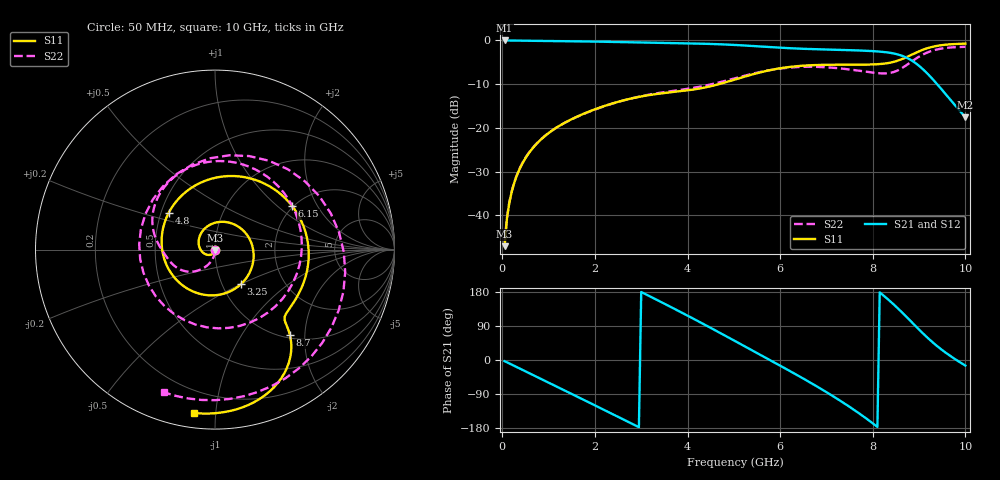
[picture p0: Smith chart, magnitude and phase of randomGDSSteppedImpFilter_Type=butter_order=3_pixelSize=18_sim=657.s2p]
! freq	dB(S11)	phase(S11)	dB(S12)	phase(S12)
!  dB(S21)	phase(S21)	dB(S22)	phase(S22)
!S-par simulation data
#  GHz  S  DB  R 50
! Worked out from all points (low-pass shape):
!   200 points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, 50 MHz to 10 GHz, reference 50 ohm
!   highest |S21| = 0.00 dB at 50 MHz (marker M1); lowest = -17.6 dB at 10 GHz (marker M2)
!   |S21| within 3 dB of the highest: start of sweep to 8.461 GHz
!   lowest |S11| = -47.1 dB at 50 MHz (marker M3), VSWR 1.01, Z = 50 - j0.443 ohm
!   |S11| at or under -10 dB: start of sweep to 4.678 GHz
!   |S22| runs from -46.3 to -1.5 dB; largest |S21 - S12| = 0
!   S11 on the Smith chart (normalised r, x): 50 MHz: 1.00, -0.01; 3.25 GHz: 1.23, -0.50; 4.8 GHz: 0.55, +0.25; 6.15 GHz: 1.96, +1.26; 8.7 GHz: 1.05, -1.68; 10 GHz: 0.08, -0.88
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0.05  -47.06 -87.5  -0.00 -3.0  -0.00 -3.0  -46.26 -86.9
0.2  -34.77 -108.0  -0.02 -12.0  -0.02 -12.0  -34.64 -93.4
0.5  -26.94 -138.5  -0.05 -29.9  -0.05 -29.9  -26.83 -101.8
1.15  -20.08 157.1  -0.13 -68.7  -0.13 -68.7  -20.07 -116.4
1.75  -16.80 96.7  -0.22 -104.6  -0.22 -104.6  -16.85 -127.6
2.55  -13.90 16.4  -0.37 -153.0  -0.37 -153.0  -13.91 -143.0
3.25  -12.37 -53.1  -0.52 164.1  -0.52 164.1  -12.24 -158.5
3.4  -12.15 -68.3  -0.55 154.8  -0.55 154.8  -11.98 -161.8
4.15  -11.19 -147.9  -0.70 107.5  -0.70 107.5  -10.81 -177.2
4.8  -9.64 141.5  -0.92 65.0  -0.92 65.0  -9.28 167.3
5.05  -8.85 116.4  -1.05 48.4  -1.05 48.4  -8.57 158.9
5.6  -7.22 68.1  -1.40 11.8  -1.40 11.8  -7.15 133.8
6.15  -6.14 29.6  -1.75 -25.1  -1.75 -25.1  -6.26 99.3
6.7  -5.66 -0.2  -1.99 -63.0  -1.99 -63.0  -6.02 54.1
7.25  -5.56 -22.2  -2.14 -103.8  -2.14 -103.8  -6.35 -4.3
7.75  -5.54 -36.2  -2.31 -144.7  -2.31 -144.7  -7.00 -72.1
8.35  -5.15 -45.4  -2.79 157.8  -2.79 157.8  -7.47 176.1
8.7  -3.95 -48.8  -3.80 117.3  -3.80 117.3  -5.85 93.1
8.9  -2.94 -53.5  -5.00 92.5  -5.00 92.5  -4.38 47.8
9.2  -1.70 -64.9  -7.80 56.8  -7.80 56.8  -2.66 -9.9
9.6  -0.94 -82.0  -12.61 17.1  -12.61 17.1  -1.69 -67.4
10  -0.74 -97.3  -17.60 -14.7  -17.60 -14.7  -1.47 -109.7
